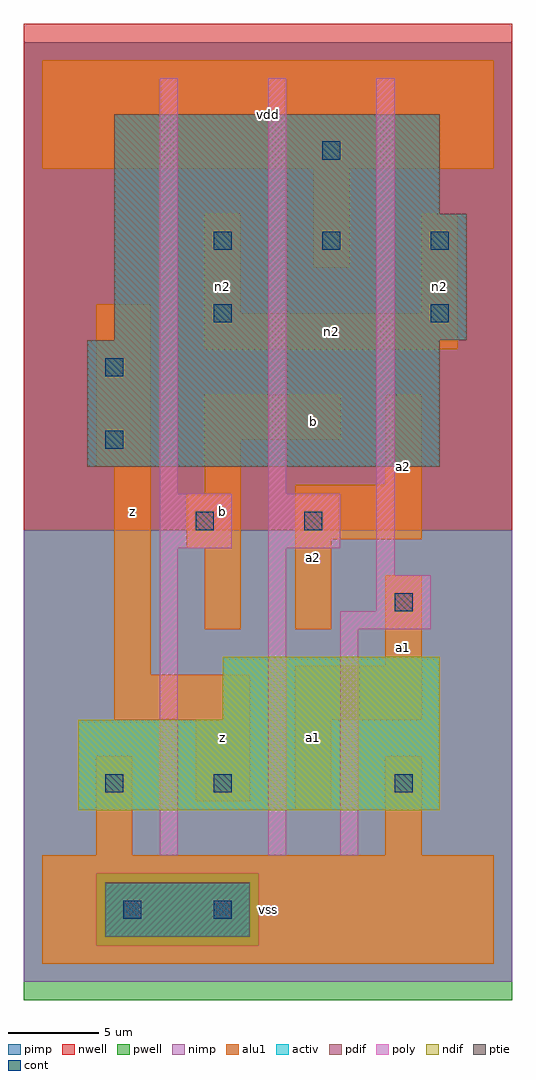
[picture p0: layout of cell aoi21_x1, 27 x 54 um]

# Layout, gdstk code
import gdstk
lib = gdstk.Library(unit=1e-6, precision=1e-09)
def R(c, l, rs):  # rectangles x0, y0, x1, y1
    for r in rs: c.add(gdstk.rectangle(r[:2], r[2:], *l))
def A(c, l, x, y, w, h, nx, ny, dx, dy):  # array of equal rectangles
    R(c, l, [(x+i*dx, y+j*dy, x+i*dx+w, y+j*dy+h) for i in range(nx) for j in range(ny)])
ndif = (3, 0)
pdif = (4, 0)
ptie = (6, 0)
cont = (25, 0)
pwell = (41, 0)
nwell = (42, 0)
activ = (43, 0)
pimp = (44, 0)
nimp = (45, 0)
poly = (46, 0)
alu1 = (49, 0)

aoi21_x1 = lib.new_cell('aoi21_x1')
R(aoi21_x1, ndif, [(2,8.5,22,13.5), (10,13.5,22,17)])
R(aoi21_x1, pdif, [(2.5,27.5,22,34.5), (4,34.5,23.5,41.5), (4,41.5,22,47)])
R(aoi21_x1, ptie, [(3.5,1.5,11.5,4.5)])
A(aoi21_x1, cont, 9.5, 39.5, 1, 1, 3, 1, 6, 0)
R(aoi21_x1, cont, [(4.5,2.5,5.5,3.5), (9.5,2.5,10.5,3.5), (3.5,9.5,4.5,10.5), (9.5,9.5,10.5,10.5), (19.5,9.5,20.5,10.5), (19.5,19.5,20.5,20.5), (8.5,24,9.5,25), (14.5,24,15.5,25), (3.5,28.5,4.5,29.5), (3.5,32.5,4.5,33.5), (9.5,35.5,10.5,36.5), (21.5,35.5,22.5,36.5), (15.5,44.5,16.5,45.5)])
R(aoi21_x1, pwell, [(-1,-2,26,24)])
R(aoi21_x1, nwell, [(-1,24,26,52)])
R(aoi21_x1, activ, [(3.5,1.5,11.5,4.5), (2,8.5,22,13.5), (10,13.5,22,17), (2.5,27.5,22,34.5), (4,34.5,23.5,41.5), (4,41.5,22,47)])
R(aoi21_x1, pimp, [(3,1,12,5), (-1,24,26,51)])
R(aoi21_x1, nimp, [(-1,-1,26,1), (-1,1,3,5), (12,1,26,5), (-1,5,26,24)])
R(aoi21_x1, poly, [(6.5,6,7.5,23), (12.5,6,13.5,23), (16.5,6,17.5,18.5), (16.5,18.5,21.5,19.5), (18.5,19.5,21.5,21.5), (18.5,21.5,19.5,49), (6.5,23,10.5,26), (12.5,23,16.5,26), (6.5,26,7.5,49), (12.5,26,13.5,49)])
R(aoi21_x1, alu1, [(0,0,25,6), (3,6,5,11.5), (19,6,21,11.5), (14,8.5,16,13.5), (8.5,9,11.5,13.5), (4,13.5,11.5,16), (14,13.5,21,16.5), (4,16,6,27.5), (19,16.5,21,21.5), (9,18.5,11,23), (14,18.5,16,23.5), (8,23,11,26), (14,23.5,21,26.5), (9,26,11,29), (19,26.5,21,31.5), (3,27.5,6,36.5), (9,29,16.5,31.5), (9,34,23,36), (9,36,11,41.5), (21,36,23,41.5), (15,38.5,17,44), (0,44,25,50)])
aoi21_x1.add(gdstk.Label('z', (10,12.5), layer=49, texttype=0))
aoi21_x1.add(gdstk.Label('b', (10,25), layer=49, texttype=0))
aoi21_x1.add(gdstk.Label('z', (5,25), layer=49, texttype=0))
aoi21_x1.add(gdstk.Label('n2', (10,37.5), layer=49, texttype=0))
aoi21_x1.add(gdstk.Label('vss', (12.5,3), layer=49, texttype=0))
aoi21_x1.add(gdstk.Label('a1', (15,12.5), layer=49, texttype=0))
aoi21_x1.add(gdstk.Label('a2', (15,22.5), layer=49, texttype=0))
aoi21_x1.add(gdstk.Label('b', (15,30), layer=49, texttype=0))
aoi21_x1.add(gdstk.Label('vdd', (12.5,47), layer=49, texttype=0))
aoi21_x1.add(gdstk.Label('a1', (20,17.5), layer=49, texttype=0))
aoi21_x1.add(gdstk.Label('a2', (20,27.5), layer=49, texttype=0))
aoi21_x1.add(gdstk.Label('n2', (16,35), layer=49, texttype=0))
aoi21_x1.add(gdstk.Label('n2', (22,37.5), layer=49, texttype=0))

lib.write_gds('aoi21_x1.gds')
